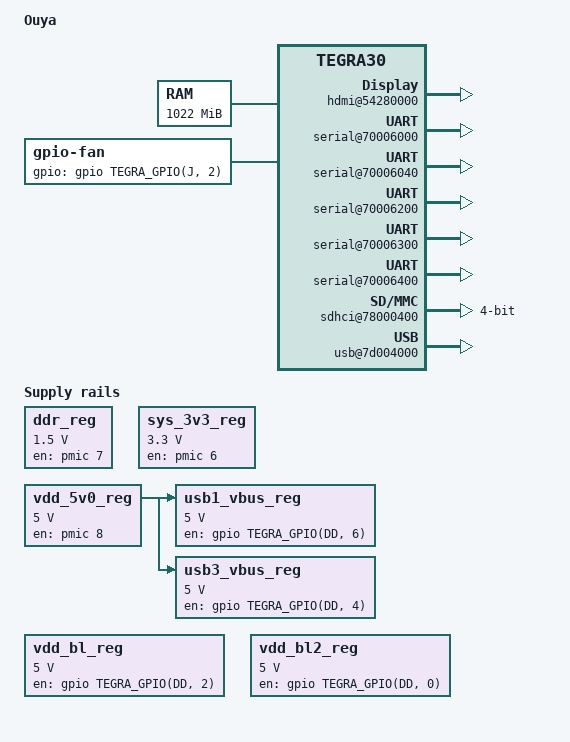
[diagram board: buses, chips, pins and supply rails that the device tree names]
/dts-v1/;

#include "tegra30-cardhu.dtsi"

/ {
	model = "Ouya";
	compatible = "ouya", "nvidia,cardhu", "nvidia,tegra30";

	/* Already disabled */
	/delete-node/ usb@7d000000;
	/delete-node/ usb-phy@7d000000;

	/* Explicitly disabled */
	/delete-node/ pcie-controller@00003000;
	/delete-node/ i2c@7000c000; /* panelddc */
	/delete-node/ panel;
	/delete-node/ backlight;

	/* FIXME: broken */
	/delete-node/ cache-controller@50043000;

	aliases {
		serial0 = &uarta;
		serial1 = &uartb;
		serial2 = &uartc;
		serial3 = &uartd;
		serial4 = &uarte;
	};

	memory {
		reg = <0x80000000 0x3fe00000>;
	};

	firmware {
		trusted-foundations {
			compatible = "tlm,trusted-foundations";
			/* FIXME: Version uncertain, but ignored as of Linux 4.3 anyway. */
			tlm,version-major = <6>;
			tlm,version-minor = <0>;
		};
	};

	host1x@50000000 {
		dc@54200000 {
			rgb {
				status = "disabled";
				/delete-property/ nvidia,panel;
			};
		};

		hdmi@54280000 {
			status = "okay";
		};
	};

	serial@70006000 {
		compatible = "nvidia,tegra30-hsuart";
		status = "okay";
	};

	serial@70006040 {
		compatible = "nvidia,tegra30-hsuart";
		status = "okay";
	};

	serial@70006200 {
		compatible = "nvidia,tegra30-hsuart";
		status = "okay";
	};

	serial@70006300 {
		compatible = "nvidia,tegra30-uart";
		status = "okay";
	};

	serial@70006400 {
		compatible = "nvidia,tegra30-hsuart";
		status = "okay";
	};

	pmc@7000e400 {
		nvidia,suspend-mode = <0>;
		nvidia,lp0-vec = <0xbddf9000 8192>;
	};

	sdhci@78000400 {
		status = "okay";
		power-gpios = <&gpio TEGRA_GPIO(D, 4) GPIO_ACTIVE_HIGH>;
		bus-width = <4>;
		keep-power-in-suspend;
	};

	usb@7d004000 {
		status = "okay";
	};

	usb-phy@7d004000 {
		vbus-supply = <&usb1_vbus_reg>;
		status = "okay";
	};

	regulators {
		compatible = "simple-bus";
		#address-cells = <1>;
		#size-cells = <0>;

		ddr_reg: regulator@100 {
			compatible = "regulator-fixed";
			reg = <100>;
			regulator-name = "vdd_ddr";
			regulator-min-microvolt = <1500000>;
			regulator-max-microvolt = <1500000>;
			regulator-always-on;
			regulator-boot-on;
			enable-active-high;
			gpio = <&pmic 7 GPIO_ACTIVE_HIGH>;
		};

		sys_3v3_reg: regulator@101 {
			compatible = "regulator-fixed";
			reg = <101>;
			regulator-name = "sys_3v3";
			regulator-min-microvolt = <3300000>;
			regulator-max-microvolt = <3300000>;
			regulator-always-on;
			regulator-boot-on;
			enable-active-high;
			gpio = <&pmic 6 GPIO_ACTIVE_HIGH>;
		};

		usb1_vbus_reg: regulator@102 {
			compatible = "regulator-fixed";
			reg = <102>;
			regulator-name = "usb1_vbus";
			regulator-min-microvolt = <5000000>;
			regulator-max-microvolt = <5000000>;
			enable-active-high;
			gpio = <&gpio TEGRA_GPIO(DD, 6) GPIO_ACTIVE_HIGH>;
			gpio-open-drain;
			vin-supply = <&vdd_5v0_reg>;
		};

		usb3_vbus_reg: regulator@103 {
			compatible = "regulator-fixed";
			reg = <103>;
			regulator-name = "usb3_vbus";
			regulator-min-microvolt = <5000000>;
			regulator-max-microvolt = <5000000>;
			enable-active-high;
			gpio = <&gpio TEGRA_GPIO(DD, 4) GPIO_ACTIVE_HIGH>;
			gpio-open-drain;
			vin-supply = <&vdd_5v0_reg>;
		};

		vdd_5v0_reg: regulator@104 {
			compatible = "regulator-fixed";
			reg = <104>;
			regulator-name = "5v0";
			regulator-min-microvolt = <5000000>;
			regulator-max-microvolt = <5000000>;
			enable-active-high;
			gpio = <&pmic 8 GPIO_ACTIVE_HIGH>;
		};

		vdd_bl_reg: regulator@105 {
			compatible = "regulator-fixed";
			reg = <105>;
			regulator-name = "vdd_bl";
			regulator-min-microvolt = <5000000>;
			regulator-max-microvolt = <5000000>;
			regulator-always-on;
			regulator-boot-on;
			enable-active-high;
			gpio = <&gpio TEGRA_GPIO(DD, 2) GPIO_ACTIVE_HIGH>;
		};

		vdd_bl2_reg: regulator@106 {
			compatible = "regulator-fixed";
			reg = <106>;
			regulator-name = "vdd_bl2";
			regulator-min-microvolt = <5000000>;
			regulator-max-microvolt = <5000000>;
			regulator-always-on;
			regulator-boot-on;
			enable-active-high;
			gpio = <&gpio TEGRA_GPIO(DD, 0) GPIO_ACTIVE_HIGH>;
		};
	};

	gpio-keys {
		power {
			/delete-property/ interrupt-parent;
			/delete-property/ interrupts;
			gpios = <&gpio TEGRA_GPIO(V, 0) GPIO_ACTIVE_LOW>;
			debounce-interval = <10>;
		};

		/delete-node/ volume-down;
		/delete-node/ volume-up;
	};

	gpio-fan {
		compatible = "gpio-fan";
		gpios = <&gpio TEGRA_GPIO(J, 2) GPIO_ACTIVE_HIGH>;
		gpio-fan,speed-map = <0 0 5000 1>;
		#cooling-cells = <2>;
	};
};
